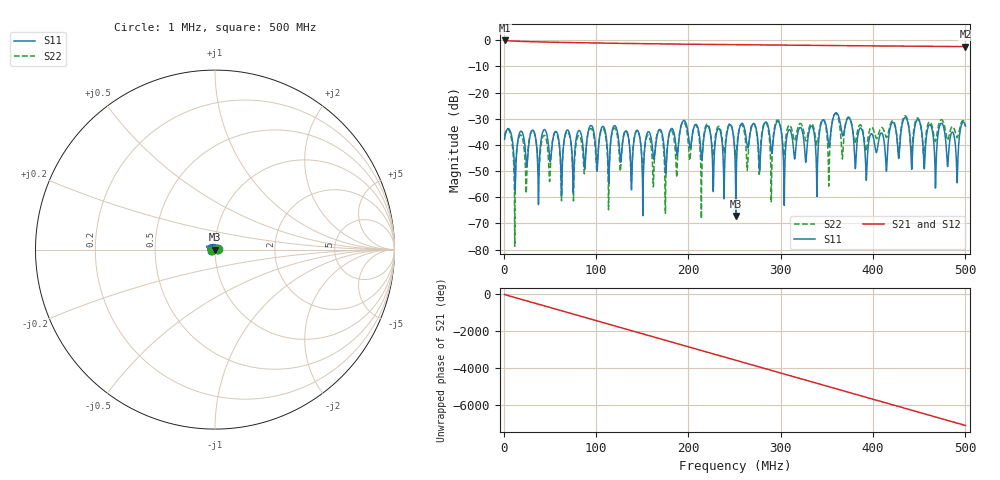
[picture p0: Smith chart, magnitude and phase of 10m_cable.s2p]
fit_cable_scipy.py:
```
import matplotlib.pyplot as plt
import logging
import skrf as rf
import jax.numpy as jnp

import pmrf as prf
from pmrf.models import CoaxialLine
from pmrf.parameters import Uniform, Fixed, PercentNormal
from pmrf.fitting import SciPyMinimizeFitter

logging.basicConfig(level=logging.INFO)

# Load the measured data and setup the model
measured = rf.Network('data/10m_cable.s2p', f_unit='MHz')
model = CoaxialLine(
    din = PercentNormal(1.12, 5.0, scale=1e-3),
    dout = PercentNormal(3.2, 5.0, scale=1e-3),
    epr = PercentNormal(1.45, 5.0, n=2),
    rho = PercentNormal(1.6, 5.0, scale=1e-8),
    tand = Uniform(0.0, 0.01, value=0.0, scale=0.01, n=2),
    mur = Fixed(1.0),
    length = PercentNormal(10.0, 5.0),
    epr_model='bpoly',
    tand_model='bpoly',
)

# Initialize the fitter. We fit on the real and imaginary and combine their results
fitter = SciPyMinimizeFitter(
    model=model,
    features=['s11_re', 's11_im'],
    error_fn=[prf.l2_norm_ax0, jnp.sum, prf.mag_2_db],
)

# Run the fit
fitted_model, fit_results = fitter.run(measured, optimizer='Nelder-Mead')
model_ntwk = fitted_model.to_skrf(measured.frequency)

# Plot some results
fig, axes = plt.subplots(2, 2)
axes = axes.flatten()
model_ntwk.plot_s_db(m=0, n=0, ax=axes[0])
measured.plot_s_db(m=0, n=0, ax=axes[0])
model_ntwk.plot_s_deg(m=0, n=0, ax=axes[1])
measured.plot_s_deg(m=0, n=0, ax=axes[1])
model_ntwk.plot_s_re(m=0, n=0, ax=axes[2])
measured.plot_s_re(m=0, n=0, ax=axes[2])
model_ntwk.plot_s_im(m=0, n=0, ax=axes[3])
measured.plot_s_im(m=0, n=0, ax=axes[3])

plt.show()
```
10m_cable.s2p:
! MS46122B
! 1746301/73750021
! 11/1/2023 4:11:00 PM
! C:\USERS\SPEGWAL\DOWNLOADS\SAURABH\REACH\NODES\FRONT END\MEASUREMENTS\MEASURED S-PARAMETERS_01-11-2023\CABLES\10M_P1A1-P2A2.S2P
! CHANNEL.1
! TR.MEASUREMENT
! CORRECTED.DATA
# GHZ S RI R 50.0
! FREQ.GHZ  S11RE  S11IM  S21RE  S21IM  S12RE  S12IM  S22RE  S22IM
!; PortSelection: Port_12
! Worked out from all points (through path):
!   2001 points, 1 MHz to 500 MHz, reference 50 ohm
!   highest |S21| = -0.10 dB at 1.25 MHz (marker M1); lowest = -2.4 dB at 500 MHz (marker M2)
!   group delay of S21, straight-line fit = 39.6 ns
!   lowest |S11| = -67.1 dB at 251.5 MHz (marker M3), VSWR 1.00, Z = 50 - j0.0439 ohm
!   |S11| at or under -10 dB: start of sweep to end of sweep
!   |S22| runs from -78.7 to -28.0 dB; largest |S21 - S12| = 0.0043
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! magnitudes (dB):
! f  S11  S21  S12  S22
! 1 MHz  -37.9  -0.1  -0.1  -36.7
! 1.25 MHz  -37.1  -0.1  -0.1  -36.2
! 11.98 MHz  -53.7  -0.4  -0.4  -78.7
! 31.19 MHz  -34.4  -0.6  -0.6  -34.4
! 175.2 MHz  -49.7  -1.4  -1.4  -66.1
! 195.1 MHz  -30.6  -1.5  -1.5  -31.3
! 250.5 MHz  -45.0  -1.7  -1.7  -42.5
! 251.5 MHz  -67.1  -1.7  -1.7  -44.9
! 258 MHz  -31.8  -1.7  -1.7  -32.3
! 303.9 MHz  -63.1  -1.9  -1.9  -43.3
! 500 MHz  -32.8  -2.4  -2.4  -32.6
